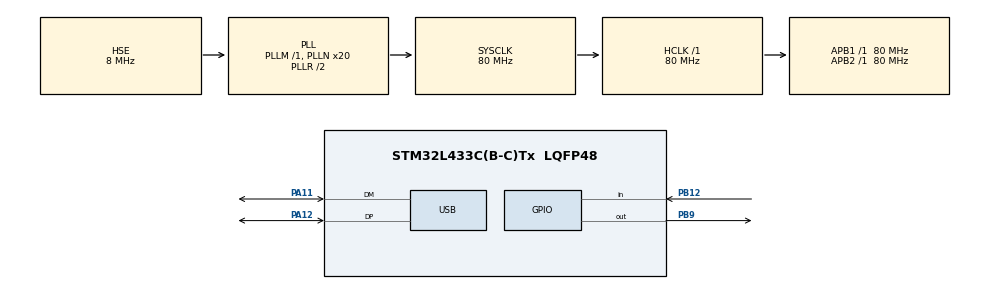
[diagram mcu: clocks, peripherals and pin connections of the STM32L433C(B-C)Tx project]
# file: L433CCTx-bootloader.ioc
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Mcu.Family=STM32L4
Mcu.Name=STM32L433C(B-C)Tx
Mcu.Package=LQFP48
NVIC.PriorityGroup=NVIC_PRIORITYGROUP_4
NVIC.USB_IRQn=true\:0\:0\:false\:false\:true
PA11.Mode=Device
PA11.Signal=USB_DM
PA12.Mode=Device
PA12.Signal=USB_DP
PA13\ (JTMS-SWDIO).Mode=Serial_Wire
PA13\ (JTMS-SWDIO).Signal=SYS_JTMS-SWDIO
PA14\ (JTCK-SWCLK).Mode=Serial_Wire
PA14\ (JTCK-SWCLK).Signal=SYS_JTCK-SWCLK
PB12.GPIO_PuPd=GPIO_PULLUP
PB12.Signal=GPIO_Input
PB9.Signal=GPIO_Output
PH0-OSC_IN\ (PH0).Mode=HSE-External-Oscillator
PH0-OSC_IN\ (PH0).Signal=RCC_OSC_IN
PH1-OSC_OUT\ (PH1).Mode=HSE-External-Oscillator
PH1-OSC_OUT\ (PH1).Signal=RCC_OSC_OUT
ProjectManager.HeapSize=0x200
ProjectManager.StackSize=0x400
ProjectManager.TargetToolchain=SW4STM32
RCC.ADCFreq_Value=48000000
RCC.AHBFreq_Value=80000000
RCC.APB1Freq_Value=80000000
RCC.APB1TimFreq_Value=80000000
RCC.APB2Freq_Value=80000000
RCC.APB2TimFreq_Value=80000000
RCC.CortexFreq_Value=80000000
RCC.HCLKFreq_Value=80000000
RCC.HSE_VALUE=8000000
RCC.HSI48_VALUE=48000000
RCC.HSI_VALUE=16000000
RCC.LSE_VALUE=32768
RCC.MSI_VALUE=4000000
RCC.PLLN=20
RCC.PLLSAI1N=12
RCC.PLLSourceVirtual=RCC_PLLSOURCE_HSE
RCC.SYSCLKFreq_VALUE=80000000
RCC.SYSCLKSource=RCC_SYSCLKSOURCE_PLLCLK
RCC.USBFreq_Value=48000000
RCC.VCOOutputFreq_Value=160000000
USB_DEVICE.CLASS_NAME_FS=DFU
USB_DEVICE.VirtualModeFS=Dfu_FS
VP_USB_DEVICE_VS_USB_DEVICE_DFU_FS.Mode=DFU_FS
board=L433CCTx-bootloader

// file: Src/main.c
/**
  ******************************************************************************
  * File Name          : main.c
  * Description        : Main program body
  ******************************************************************************
  *
  * Copyright (c) 2017 STMicroelectronics International N.V.
  * All rights reserved.
  *
  * Redistribution and use in source and binary forms, with or without
  * modification, are permitted, provided that the following conditions are met:
  *
  * 1. Redistribution of source code must retain the above copyright notice,
  *    this list of conditions and the following disclaimer.
  * 2. Redistributions in binary form must reproduce the above copyright notice,
  *    this list of conditions and the following disclaimer in the documentation
  *    and/or other materials provided with the distribution.
  * 3. Neither the name of STMicroelectronics nor the names of other
  *    contributors to this software may be used to endorse or promote products
  *    derived from this software without specific written permission.
  * 4. This software, including modifications and/or derivative works of this
  *    software, must execute solely and exclusively on microcontroller or
  *    microprocessor devices manufactured by or for STMicroelectronics.
  * 5. Redistribution and use of this software other than as permitted under
  *    this license is void and will automatically terminate your rights under
  *    this license.
  *
  * THIS SOFTWARE IS PROVIDED BY STMICROELECTRONICS AND CONTRIBUTORS "AS IS"
  * AND ANY EXPRESS, IMPLIED OR STATUTORY WARRANTIES, INCLUDING, BUT NOT
  * LIMITED TO, THE IMPLIED WARRANTIES OF MERCHANTABILITY, FITNESS FOR A
  * PARTICULAR PURPOSE AND NON-INFRINGEMENT OF THIRD PARTY INTELLECTUAL PROPERTY
  * RIGHTS ARE DISCLAIMED TO THE FULLEST EXTENT PERMITTED BY LAW. IN NO EVENT
  * SHALL STMICROELECTRONICS OR CONTRIBUTORS BE LIABLE FOR ANY DIRECT, INDIRECT,
  * INCIDENTAL, SPECIAL, EXEMPLARY, OR CONSEQUENTIAL DAMAGES (INCLUDING, BUT NOT
  * LIMITED TO, PROCUREMENT OF SUBSTITUTE GOODS OR SERVICES; LOSS OF USE, DATA,
  * OR PROFITS; OR BUSINESS INTERRUPTION) HOWEVER CAUSED AND ON ANY THEORY OF
  * LIABILITY, WHETHER IN CONTRACT, STRICT LIABILITY, OR TORT (INCLUDING
  * NEGLIGENCE OR OTHERWISE) ARISING IN ANY WAY OUT OF THE USE OF THIS SOFTWARE,
  * EVEN IF ADVISED OF THE POSSIBILITY OF SUCH DAMAGE.
  *
  ******************************************************************************
  */
#include "main.h"
#include "stm32l4xx_hal.h"
#include "usb_device.h"

/* USER CODE BEGIN Includes */

#include "usbd_core.h"
#include "usbd_dfu.h"
#include "usbd_dfu_if.h"
#include "stm32l4xx_hal.h"

/* USER CODE END Includes */

/* USER CODE BEGIN PV */
/* Private variables ---------------------------------------------------------*/

uint32_t JumpAddress;
pFunction JumpToApplication;

/* USER CODE END PV */

void SystemClock_Config(void);
void Error_Handler(void);
static void MX_GPIO_Init(void);

/* USER CODE BEGIN PFP */
/* Private function prototypes -----------------------------------------------*/

void read_flash_vars(uint32_t *data, uint16_t length, uint16_t offset);
uint32_t erase_flash_page(void);
uint32_t write_flash_vars(uint64_t* data, uint16_t length, uint16_t offset);

/* USER CODE END PFP */

/* USER CODE BEGIN 0 */

uint64_t flash_buf[128];

uint8_t gpio;
uint8_t cmp;

/* USER CODE END 0 */

int main(void)
{

  /* MCU Configuration----------------------------------------------------------*/

  /* Reset of all peripherals, Initializes the Flash interface and the Systick. */
  HAL_Init();

  /* Configure the system clock */
  SystemClock_Config();

  /* Initialize all configured peripherals */
  MX_GPIO_Init();

  /* USER CODE BEGIN 2 */

  // read flag from last 32 bit wide space in flash page
  read_flash_vars((uint32_t *) flash_buf, 1, 1016);

  // enable USB on maple mine clone or use reset as default state
  HAL_GPIO_WritePin(GPIOB, GPIO_PIN_9, GPIO_PIN_SET);
  HAL_Delay(100);
  HAL_GPIO_WritePin(GPIOB, GPIO_PIN_9, GPIO_PIN_RESET);

  // Don't beep
  HAL_GPIO_WritePin(GPIOA, GPIO_PIN_15, GPIO_PIN_RESET);

  // Jump to App if flag is not set and also switch is not pressed
  if (GPIO_PIN_SET == HAL_GPIO_ReadPin(GPIOB, GPIO_PIN_12) && strcmp((const char *) flash_buf, (const char *) "DFU") != 0)
  {
      // Test if application seems to be programmed at APPLICATION_ADDRESS
      if (((*(__IO uint32_t*) APPLICATION_ADDRESS ) & 0x2FFE0000) == 0x20000000)
      {
          // Prevent motor start while reboot
          HAL_Delay(150);

          JumpAddress = *(__IO uint32_t*) (APPLICATION_ADDRESS + 4);
          JumpToApplication = (pFunction) JumpAddress;

          __set_MSP(*(__IO uint32_t*) APPLICATION_ADDRESS);
          JumpToApplication();
      }
  }

  // Dump and erase flash page. Clear flag in page buffer and write back to flash keeping the config vars
  read_flash_vars((uint32_t *) flash_buf, 256, 0);
  //flash_buf[127] = 0xFFFFFFFFFFFFFFFF;
  erase_flash_page();
  // leave last 64 bit wide location virgin after erase
  // otherwise the application can not set the flag again
  // even if all bits are set in this location
  write_flash_vars((uint64_t*) flash_buf, 127, 0);

  MX_USB_DEVICE_Init();

  /* USER CODE END 2 */

  /* Infinite loop */
  while (1)
  {

  }

}

/** System Clock Configuration
*/
void SystemClock_Config(void)
{

  RCC_OscInitTypeDef RCC_OscInitStruct;
  RCC_ClkInitTypeDef RCC_ClkInitStruct;
  RCC_PeriphCLKInitTypeDef PeriphClkInit;

    /**Initializes the CPU, AHB and APB busses clocks
    */
  RCC_OscInitStruct.OscillatorType = RCC_OSCILLATORTYPE_HSE;
  RCC_OscInitStruct.HSEState = RCC_HSE_ON;
  RCC_OscInitStruct.PLL.PLLState = RCC_PLL_ON;
  RCC_OscInitStruct.PLL.PLLSource = RCC_PLLSOURCE_HSE;
  RCC_OscInitStruct.PLL.PLLM = 1;
  RCC_OscInitStruct.PLL.PLLN = 20;
  RCC_OscInitStruct.PLL.PLLP = RCC_PLLP_DIV7;
  RCC_OscInitStruct.PLL.PLLQ = RCC_PLLQ_DIV2;
  RCC_OscInitStruct.PLL.PLLR = RCC_PLLR_DIV2;
  if (HAL_RCC_OscConfig(&RCC_OscInitStruct) != HAL_OK)
  {
    Error_Handler();
  }

    /**Initializes the CPU, AHB and APB busses clocks
    */
  RCC_ClkInitStruct.ClockType = RCC_CLOCKTYPE_HCLK|RCC_CLOCKTYPE_SYSCLK
                              |RCC_CLOCKTYPE_PCLK1|RCC_CLOCKTYPE_PCLK2;
  RCC_ClkInitStruct.SYSCLKSource = RCC_SYSCLKSOURCE_PLLCLK;
  RCC_ClkInitStruct.AHBCLKDivider = RCC_SYSCLK_DIV1;
  RCC_ClkInitStruct.APB1CLKDivider = RCC_HCLK_DIV1;
  RCC_ClkInitStruct.APB2CLKDivider = RCC_HCLK_DIV1;

  if (HAL_RCC_ClockConfig(&RCC_ClkInitStruct, FLASH_LATENCY_4) != HAL_OK)
  {
    Error_Handler();
  }

  PeriphClkInit.PeriphClockSelection = RCC_PERIPHCLK_USB;
  PeriphClkInit.UsbClockSelection = RCC_USBCLKSOURCE_PLLSAI1;
  PeriphClkInit.PLLSAI1.PLLSAI1Source = RCC_PLLSOURCE_HSE;
  PeriphClkInit.PLLSAI1.PLLSAI1M = 1;
  PeriphClkInit.PLLSAI1.PLLSAI1N = 12;
  PeriphClkInit.PLLSAI1.PLLSAI1P = RCC_PLLP_DIV7;
  PeriphClkInit.PLLSAI1.PLLSAI1Q = RCC_PLLQ_DIV2;
  PeriphClkInit.PLLSAI1.PLLSAI1R = RCC_PLLR_DIV2;
  PeriphClkInit.PLLSAI1.PLLSAI1ClockOut = RCC_PLLSAI1_48M2CLK;
  if (HAL_RCCEx_PeriphCLKConfig(&PeriphClkInit) != HAL_OK)
  {
    Error_Handler();
  }

    /**Configure the main internal regulator output voltage
    */
  if (HAL_PWREx_ControlVoltageScaling(PWR_REGULATOR_VOLTAGE_SCALE1) != HAL_OK)
  {
    Error_Handler();
  }

    /**Configure the Systick interrupt time
    */
  HAL_SYSTICK_Config(HAL_RCC_GetHCLKFreq()/1000);

    /**Configure the Systick
    */
  HAL_SYSTICK_CLKSourceConfig(SYSTICK_CLKSOURCE_HCLK);

  /* SysTick_IRQn interrupt configuration */
  HAL_NVIC_SetPriority(SysTick_IRQn, 0, 0);
}

/** Configure pins as
        * Analog
        * Input
        * Output
        * EVENT_OUT
        * EXTI
*/
static void MX_GPIO_Init(void)
{

  GPIO_InitTypeDef GPIO_InitStruct;

  /* GPIO Ports Clock Enable */
  __HAL_RCC_GPIOH_CLK_ENABLE();
  __HAL_RCC_GPIOB_CLK_ENABLE();
  __HAL_RCC_GPIOA_CLK_ENABLE();

  /*Configure GPIO pin Output Level */
  HAL_GPIO_WritePin(GPIOB, GPIO_PIN_9, GPIO_PIN_RESET);

  /*Configure GPIO pin : PB12 */
  GPIO_InitStruct.Pin = GPIO_PIN_12;
  GPIO_InitStruct.Mode = GPIO_MODE_INPUT;
  GPIO_InitStruct.Pull = GPIO_PULLUP;
  HAL_GPIO_Init(GPIOB, &GPIO_InitStruct);

  /*Configure GPIO pin : PB9 */
  GPIO_InitStruct.Pin = GPIO_PIN_9;
  GPIO_InitStruct.Mode = GPIO_MODE_OUTPUT_PP;
  GPIO_InitStruct.Pull = GPIO_NOPULL;
  GPIO_InitStruct.Speed = GPIO_SPEED_FREQ_LOW;
  HAL_GPIO_Init(GPIOB, &GPIO_InitStruct);

}

/* USER CODE BEGIN 4 */
void read_flash_vars(uint32_t *data, uint16_t length, uint16_t offset)
{
    uint32_t Address = FLASH_USER_START_ADDR;
    uint16_t i;

    Address += offset;

    for (i=0; i<length; i++)
    {
            *data = *(uint32_t*) Address;
            Address += 4;
            data ++;
    }
}

uint32_t erase_flash_page(void)
{
    FLASH_EraseInitTypeDef EraseInitStruct;
    uint32_t PAGEError = 0;

    //Erase flash page(s)
    //Fill EraseInit structure
    EraseInitStruct.TypeErase = FLASH_TYPEERASE_PAGES;
    EraseInitStruct.Page = FLASH_PAGE;
    EraseInitStruct.Banks = 0;
    EraseInitStruct.NbPages = (FLASH_USER_END_ADDR - FLASH_USER_START_ADDR) / FLASH_PAGE_SIZE;

    HAL_FLASH_Unlock();
    /* Clear OPTVERR bit set on virgin samples */
    __HAL_FLASH_CLEAR_FLAG(FLASH_FLAG_OPTVERR);

    if (HAL_FLASHEx_Erase(&EraseInitStruct, &PAGEError) != HAL_OK)
    {
        // PAGEError will contain the faulty page
        // error code from 'HAL_FLASH_GetError()'
        HAL_FLASH_Lock();
        return HAL_FLASH_GetError();
    }
    else
    {
        HAL_FLASH_Lock();
        return HAL_OK;
    }
}

uint32_t write_flash_vars(uint64_t* data, uint16_t length, uint16_t offset)
{
    uint32_t Address = FLASH_USER_START_ADDR;
    __IO uint64_t data64;

    Address += offset;

    HAL_FLASH_Unlock();
    while (length > 0)
    {
        data64 = *(__IO uint64_t *) data;

        if (HAL_FLASH_Program(FLASH_TYPEPROGRAM_DOUBLEWORD, Address, data64) == HAL_OK)
        {
            Address += 8;
            data++;
            length--;
        }
        else
        {
            HAL_FLASH_Lock();
            return HAL_FLASH_GetError();
        }
    }
    HAL_FLASH_Lock();
    return HAL_OK;
}

/* USER CODE END 4 */

void Error_Handler(void)
{
  while(1)
  {
  }
}

/************************ (C) COPYRIGHT STMicroelectronics *****END OF FILE****/
